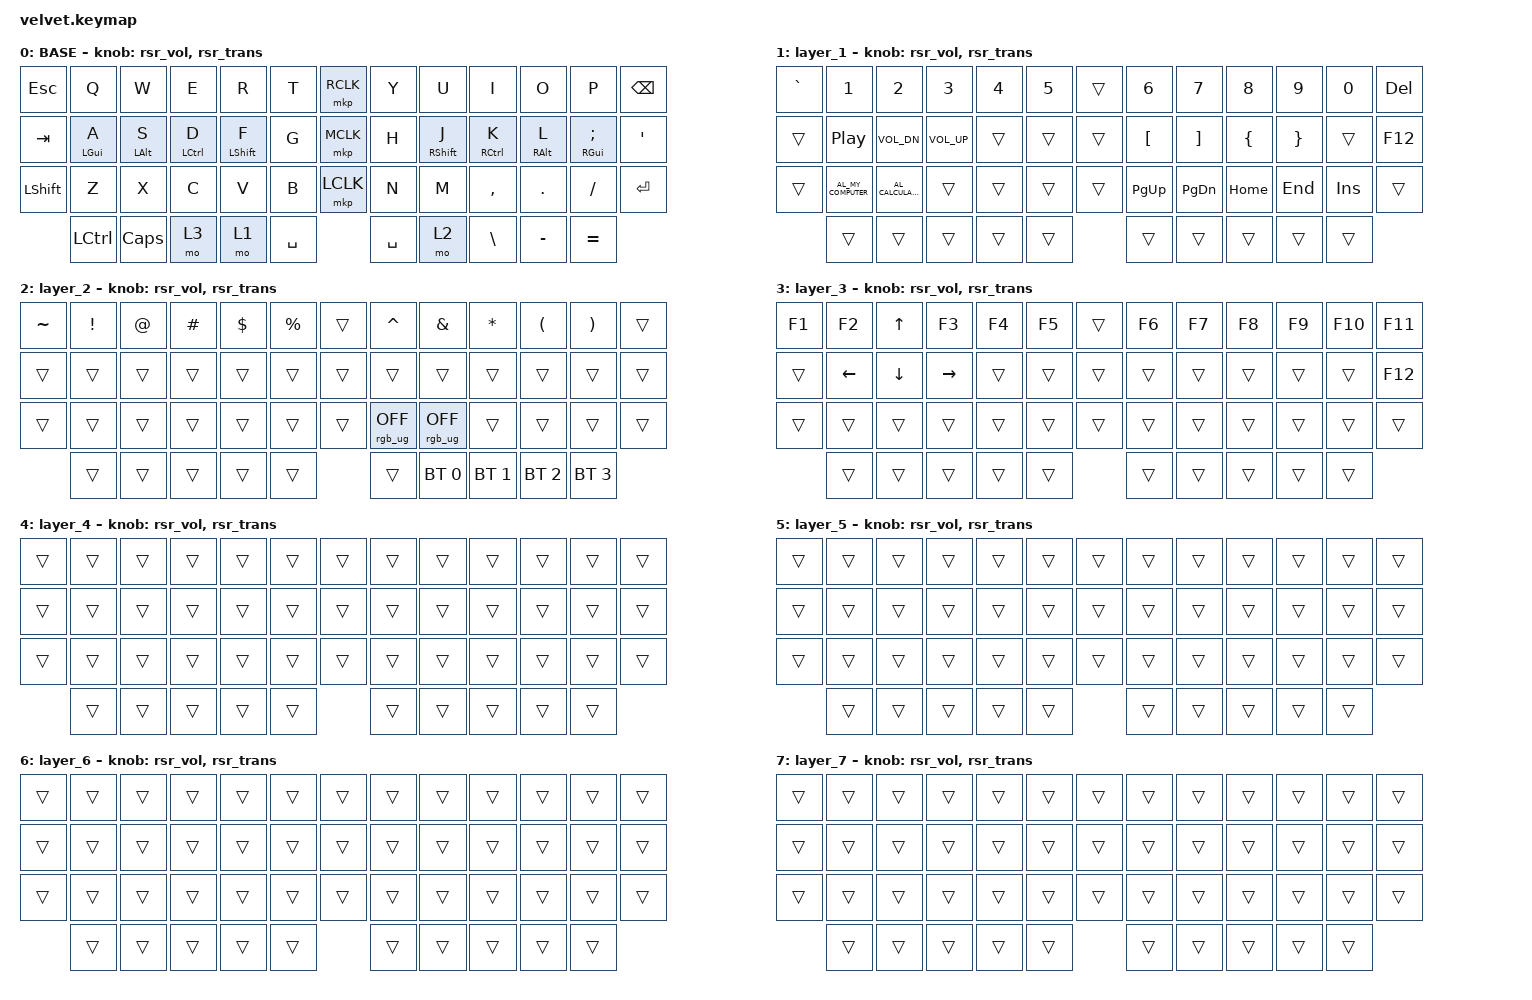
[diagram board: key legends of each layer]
#define BASE 0
#define LOWER 1
#define MOUSE_KEYS 2
#define MOUSE_TP 3
#define MOUSE_TP_SET 4

#include <zephyr/dt-bindings/input/input-event-codes.h>
#include <input/processors.dtsi>
#include <behaviors/runtime-sensor-rotate.dtsi>
#include <behaviors.dtsi>
#include <dt-bindings/zmk/bt.h>
#include <dt-bindings/zmk/keys.h>
#include <dt-bindings/zmk/pointing.h>
#include <dt-bindings/zmk/rgb.h>

// Key positions (13 / 13 / 13 / 10 layout; column 6 = mouse buttons)
//  0  1  2  3  4  5 |  6 |  7  8  9 10 11 12
// 13 14 15 16 17 18 | 19 | 20 21 22 23 24 25
// 26 27 28 29 30 31 | 32 | 33 34 35 36 37 38
//    39 40 41 42 43 |    | 44 45 46 47 48
#define KEYS_L 0 1 2 3 4 5 13 14 15 16 17 18 26 27 28 29 30 31
#define KEYS_R 7 8 9 10 11 12 20 21 22 23 24 25 33 34 35 36 37 38
#define KEYS_M 6 19 32
#define THUMBS 39 40 41 42 43 44 45 46 47 48

&mmv_input_listener { input-processors = <&zip_xy_scaler 2 1>; };

&msc_input_listener { input-processors = <&zip_scroll_scaler 2 1>; };

&msc {
    acceleration-exponent = <1>;      // 0
    time-to-max-speed-ms = <100>;       // 300
    delay-ms = <0>;                   // 0
};

&mmv {
    time-to-max-speed-ms = <500>;
    acceleration-exponent = <1>;
    trigger-period-ms = <16>;
};

/ {
    scroll_encoder: scroll_encoder {
        compatible = "zmk,behavior-sensor-rotate";
        #sensor-binding-cells = <0>;
        bindings = <&msc SCRL_UP>, <&msc SCRL_DOWN>;

        tap-ms = <100>;
    };

    behaviors {
        td0: td0 {
            compatible = "zmk,behavior-tap-dance";
            display-name = "Shift/Caps Lock Tap Dance";
            #binding-cells = <0>;
            bindings = <&kp LEFT_SHIFT>, <&kp CAPS>;
        };

        ltq: ltq {
            compatible = "zmk,behavior-hold-tap";
            label = "LTQ";
            bindings = <&mo>, <&kp>;

            #binding-cells = <2>;
            tapping-term-ms = <200>;
            quick-tap-ms = <180>;
        };

        // Timeless home row mods (urob style)
        hml: home_row_mod_left {
            compatible = "zmk,behavior-hold-tap";
            display-name = "Home Row Mod Left";
            #binding-cells = <2>;
            bindings = <&kp>, <&kp>;

            flavor = "balanced";
            tapping-term-ms = <280>;
            quick-tap-ms = <175>;
            require-prior-idle-ms = <150>;
            hold-trigger-key-positions = <KEYS_R KEYS_M THUMBS>;
            hold-trigger-on-release;
        };

        hmr: home_row_mod_right {
            compatible = "zmk,behavior-hold-tap";
            display-name = "Home Row Mod Right";
            #binding-cells = <2>;
            bindings = <&kp>, <&kp>;

            flavor = "balanced";
            tapping-term-ms = <280>;
            quick-tap-ms = <175>;
            require-prior-idle-ms = <150>;
            hold-trigger-key-positions = <KEYS_L KEYS_M THUMBS>;
            hold-trigger-on-release;
        };

        rsr_vol: rsr_vol {
            compatible = "zmk,behavior-runtime-sensor-rotate";
            #sensor-binding-cells = <0>;
            tap-ms = <5>;
            cw-binding = <&kp C_VOL_UP>;
            ccw-binding = <&kp C_VOL_DN>;
        };
    };

    combos {
        compatible = "zmk,combos";

        flash {
            bindings = <&bootloader>;
            key-positions = <0 11>;
        };
    };

    keymap {
        compatible = "zmk,keymap";

        BASE {
            bindings = <
&kp ESC         &kp Q      &kp W         &kp E  &kp R  &kp T      &mkp RCLK  &kp Y      &kp U  &kp I      &kp O      &kp P      &kp BSPC
&kp TAB         &hml LGUI A  &hml LALT S  &hml LCTRL D  &hml LSHFT F  &kp G  &mkp MCLK  &kp H  &hmr RSHFT J  &hmr RCTRL K  &hmr RALT L  &hmr RGUI SEMI  &kp SQT
&kp LEFT_SHIFT  &kp Z      &kp X         &kp C  &kp V  &kp B      &mkp LCLK  &kp N      &kp M  &kp COMMA  &kp DOT    &kp SLASH  &kp ENTER
                &kp LCTRL  &kp CAPSLOCK  &mo 3  &mo 1  &kp SPACE             &kp SPACE  &mo 2  &kp BSLH   &kp MINUS  &kp EQUAL
            >;

            label = "BASE";
            sensor-bindings = <&rsr_vol &rsr_trans>;
        };

        layer_1 {
            bindings = <
&kp GRAVE  &kp N1                &kp N2               &kp N3           &kp N4  &kp N5  &trans  &kp N6            &kp N7             &kp N8          &kp N9           &kp N0      &kp DELETE
&trans     &kp C_PLAY_PAUSE      &kp C_VOL_DN         &kp C_VOLUME_UP  &trans  &trans  &trans  &kp LEFT_BRACKET  &kp RIGHT_BRACKET  &kp LEFT_BRACE  &kp RIGHT_BRACE  &trans      &kp F12
&trans     &kp C_AL_MY_COMPUTER  &kp C_AL_CALCULATOR  &trans           &trans  &trans  &trans  &kp PAGE_UP       &kp PAGE_DOWN      &kp HOME        &kp END          &kp INSERT  &trans
           &trans                &trans               &trans           &trans  &trans          &trans            &trans             &trans          &trans           &trans
            >;

            sensor-bindings = <&rsr_vol &rsr_trans>;
        };

        layer_2 {
            bindings = <
&kp TILDE  &kp EXCL  &kp AT  &kp HASH  &kp DLLR  &kp PRCNT  &trans  &kp CARET        &kp AMPS         &kp ASTRK     &kp LPAR      &kp RPAR      &trans
&trans     &trans    &trans  &trans    &trans    &trans     &trans  &trans           &trans           &trans        &trans        &trans        &trans
&trans     &trans    &trans  &trans    &trans    &trans     &trans  &rgb_ug RGB_OFF  &rgb_ug RGB_OFF  &trans        &trans        &trans        &trans
           &trans    &trans  &trans    &trans    &trans             &trans           &bt BT_SEL 0     &bt BT_SEL 1  &bt BT_SEL 2  &bt BT_SEL 3
            >;

            sensor-bindings = <&rsr_vol &rsr_trans>;
        };

        layer_3 {
            bindings = <
&kp F1  &kp F2    &kp UP_ARROW  &kp F3     &kp F4  &kp F5  &trans  &kp F6  &kp F7  &kp F8  &kp F9  &kp F10  &kp F11
&trans  &kp LEFT  &kp DOWN      &kp RIGHT  &trans  &trans  &trans  &trans  &trans  &trans  &trans  &trans   &kp F12
&trans  &trans    &trans        &trans     &trans  &trans  &trans  &trans  &trans  &trans  &trans  &trans   &trans
        &trans    &trans        &trans     &trans  &trans          &trans  &trans  &trans  &trans  &trans
            >;

            sensor-bindings = <&rsr_vol &rsr_trans>;
        };

        layer_4 {
            bindings = <
&trans  &trans  &trans  &trans  &trans  &trans  &trans  &trans  &trans  &trans  &trans  &trans  &trans
&trans  &trans  &trans  &trans  &trans  &trans  &trans  &trans  &trans  &trans  &trans  &trans  &trans
&trans  &trans  &trans  &trans  &trans  &trans  &trans  &trans  &trans  &trans  &trans  &trans  &trans
        &trans  &trans  &trans  &trans  &trans          &trans  &trans  &trans  &trans  &trans
            >;

            sensor-bindings = <&rsr_vol &rsr_trans>;
        };

        layer_5 {
            bindings = <
&trans  &trans  &trans  &trans  &trans  &trans  &trans  &trans  &trans  &trans  &trans  &trans  &trans
&trans  &trans  &trans  &trans  &trans  &trans  &trans  &trans  &trans  &trans  &trans  &trans  &trans
&trans  &trans  &trans  &trans  &trans  &trans  &trans  &trans  &trans  &trans  &trans  &trans  &trans
        &trans  &trans  &trans  &trans  &trans          &trans  &trans  &trans  &trans  &trans
            >;

            sensor-bindings = <&rsr_vol &rsr_trans>;
        };

        layer_6 {
            bindings = <
&trans  &trans  &trans  &trans  &trans  &trans  &trans  &trans  &trans  &trans  &trans  &trans  &trans
&trans  &trans  &trans  &trans  &trans  &trans  &trans  &trans  &trans  &trans  &trans  &trans  &trans
&trans  &trans  &trans  &trans  &trans  &trans  &trans  &trans  &trans  &trans  &trans  &trans  &trans
        &trans  &trans  &trans  &trans  &trans          &trans  &trans  &trans  &trans  &trans
            >;

            sensor-bindings = <&rsr_vol &rsr_trans>;
        };

        layer_7 {
            bindings = <
&trans  &trans  &trans  &trans  &trans  &trans  &trans  &trans  &trans  &trans  &trans  &trans  &trans
&trans  &trans  &trans  &trans  &trans  &trans  &trans  &trans  &trans  &trans  &trans  &trans  &trans
&trans  &trans  &trans  &trans  &trans  &trans  &trans  &trans  &trans  &trans  &trans  &trans  &trans
        &trans  &trans  &trans  &trans  &trans          &trans  &trans  &trans  &trans  &trans
            >;

            sensor-bindings = <&rsr_vol &rsr_trans>;
        };
    };
};
